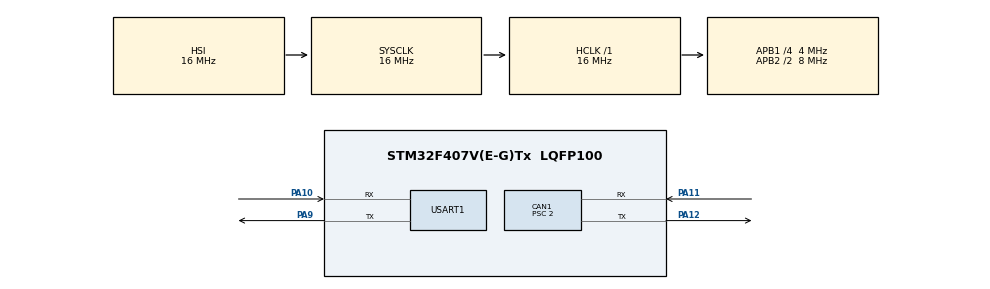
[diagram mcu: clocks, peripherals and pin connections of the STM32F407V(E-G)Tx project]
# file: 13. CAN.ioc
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CAN1.BS1=CAN_BS1_14TQ
CAN1.BS2=CAN_BS2_5TQ
CAN1.CalculateBaudRate=100000
CAN1.CalculateTimeBit=10000
CAN1.CalculateTimeQuantum=500.0
CAN1.Prescaler=2
Mcu.Family=STM32F4
Mcu.Name=STM32F407V(E-G)Tx
Mcu.Package=LQFP100
NVIC.CAN1_RX0_IRQn=true\:0\:0\:false\:false\:true\:true\:true\:true
NVIC.PriorityGroup=NVIC_PRIORITYGROUP_4
NVIC.USART1_IRQn=true\:0\:0\:false\:false\:true\:true\:true\:true
PA10.Mode=Asynchronous
PA10.Signal=USART1_RX
PA11.Mode=CAN_Activate
PA11.Signal=CAN1_RX
PA12.Mode=CAN_Activate
PA12.Signal=CAN1_TX
PA13.Mode=Serial_Wire
PA13.Signal=SYS_JTMS-SWDIO
PA14.Mode=Serial_Wire
PA14.Signal=SYS_JTCK-SWCLK
PA9.Mode=Asynchronous
PA9.Signal=USART1_TX
PH0-OSC_IN.Mode=HSE-External-Oscillator
PH0-OSC_IN.Signal=RCC_OSC_IN
PH1-OSC_OUT.Mode=HSE-External-Oscillator
PH1-OSC_OUT.Signal=RCC_OSC_OUT
ProjectManager.HeapSize=0x200
ProjectManager.StackSize=0x400
ProjectManager.TargetToolchain=STM32CubeIDE
RCC.48MHZClocksFreq_Value=84000000
RCC.AHBFreq_Value=16000000
RCC.APB1CLKDivider=RCC_HCLK_DIV4
RCC.APB1Freq_Value=4000000
RCC.APB1TimFreq_Value=8000000
RCC.APB2CLKDivider=RCC_HCLK_DIV2
RCC.APB2Freq_Value=8000000
RCC.APB2TimFreq_Value=16000000
RCC.CortexFreq_Value=16000000
RCC.HCLKFreq_Value=16000000
RCC.HSE_VALUE=25000000
RCC.HSI_VALUE=16000000
RCC.LSE_VALUE=32768
RCC.PLLM=25
RCC.PLLN=336
RCC.PLLSourceVirtual=RCC_PLLSOURCE_HSE
RCC.SYSCLKFreq_VALUE=16000000
RCC.VCOOutputFreq_Value=336000000
USART1.VirtualMode=VM_ASYNC
board=custom

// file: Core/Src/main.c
/* USER CODE BEGIN Header */
/**
  ******************************************************************************
  * @file           : main.c
  * @brief          : Main program body
  ******************************************************************************
  * @attention
  *
  * Copyright (c) 2022 STMicroelectronics.
  * All rights reserved.
  *
  * This software is licensed under terms that can be found in the LICENSE file
  * in the root directory of this software component.
  * If no LICENSE file comes with this software, it is provided AS-IS.
  *
  ******************************************************************************
  */
/* USER CODE END Header */
#include "main.h"
#include "can.h"
#include "usart.h"
#include "gpio.h"

/* USER CODE BEGIN Includes */
#include <stdio.h>
/* USER CODE END Includes */

/* USER CODE BEGIN PV */
volatile uint8_t uart_rx_data;
volatile uint8_t SW1_flag = 0;
volatile uint8_t SW2_flag = 0;
volatile uint8_t SW3_flag = 0;
volatile uint8_t SW4_flag = 0;
volatile uint8_t can1_rx0_flag = 0;
/* USER CODE END PV */

void SystemClock_Config(void);

int main(void)
{

  /* MCU Configuration--------------------------------------------------------*/

  /* Reset of all peripherals, Initializes the Flash interface and the Systick. */
  HAL_Init();

  /* Configure the system clock */
  SystemClock_Config();

  /* Initialize all configured peripherals */
  MX_GPIO_Init();
  MX_CAN1_Init();
  MX_USART1_UART_Init();

  /* Infinite loop */
  /* USER CODE BEGIN WHILE */
  canFilter1.FilterMaskIdHigh = 0x7F3 << 5;
  canFilter1.FilterIdHigh = 0x106 << 5;
  canFilter1.FilterMaskIdLow = 0x7F3 << 5;
  canFilter1.FilterIdLow = 0x106 << 5;
  canFilter1.FilterMode = CAN_FILTERMODE_IDMASK;
  canFilter1.FilterScale = CAN_FILTERSCALE_16BIT;
  canFilter1.FilterFIFOAssignment = CAN_FILTER_FIFO0;
  canFilter1.FilterBank = 0;
  canFilter1.FilterActivation = ENABLE;

  HAL_CAN_ConfigFilter(&hcan1, &canFilter1);
  HAL_CAN_ActivateNotification(&hcan1, CAN_IT_RX_FIFO0_MSG_PENDING);

  HAL_CAN_Start(&hcan1);

  HAL_UART_Receive_IT(&huart1, &uart_rx_data, sizeof(uart_rx_data));

  char str[20] = {0};

  while (1)
  {
	  if(can1_rx0_flag)
	  {
		  can1_rx0_flag = 0;

		  sprintf(str, "\n\n=============\n");
		  HAL_UART_Transmit(&huart1, str, sizeof(str), 10);
		  sprintf(str, "STM32F407VET6\n");
		  HAL_UART_Transmit(&huart1, str, sizeof(str), 10);
		  sprintf(str, "Rx ID: 0x%X\n", canRxHeader.StdId);
		  HAL_UART_Transmit(&huart1, str, sizeof(str), 10);

		  for(int i = 0; i < 8; i++)
		  {
			  sprintf(str, "Rx Data[%d]: 0x%X\n", i, can1Rx0Data[i]);
			  HAL_UART_Transmit(&huart1, str, sizeof(str), 10);
		  }
		  sprintf(str, "\n=============\n\n");
		  HAL_UART_Transmit(&huart1, str, sizeof(str), 10);
	  }

	  // flag1
	  if(SW1_flag)
	  {
		  SW1_flag = 0;

		  canTxHeader.StdId = 0x102;
		  canTxHeader.RTR = CAN_RTR_DATA;
		  canTxHeader.IDE = CAN_ID_STD;
		  canTxHeader.DLC = 8;

		  for(int i = 0; i < 8; i++) can1Tx0Data[i]++;

		  TxMailBox = HAL_CAN_GetTxMailboxesFreeLevel(&hcan1);
		  HAL_CAN_AddTxMessage(&hcan1, &canTxHeader, &can1Tx0Data[0], &TxMailBox);
	  }

	  // flag2
	  if(SW2_flag)
	  {
		  SW2_flag = 0;

		  canTxHeader.StdId = 0x106;
		  canTxHeader.RTR = CAN_RTR_DATA;
		  canTxHeader.IDE = CAN_ID_STD;
		  canTxHeader.DLC = 8;

		  for(int i = 0; i < 8; i++) can1Tx0Data[i]++;

		  TxMailBox = HAL_CAN_GetTxMailboxesFreeLevel(&hcan1);
		  HAL_CAN_AddTxMessage(&hcan1, &canTxHeader, &can1Tx0Data[0], &TxMailBox);
	  }

	  // flag3
	  if(SW3_flag)
	  {
		  SW3_flag = 0;

		  canTxHeader.StdId = 0x10A;
		  canTxHeader.RTR = CAN_RTR_DATA;
		  canTxHeader.IDE = CAN_ID_STD;
		  canTxHeader.DLC = 8;

		  for(int i = 0; i < 8; i++) can1Tx0Data[i]++;

		  TxMailBox = HAL_CAN_GetTxMailboxesFreeLevel(&hcan1);
		  HAL_CAN_AddTxMessage(&hcan1, &canTxHeader, &can1Tx0Data[0], &TxMailBox);
	  }

	  // flag4
	  if(SW4_flag)
	  {
		  SW4_flag = 0;

		  canTxHeader.StdId = 0x10E;
		  canTxHeader.RTR = CAN_RTR_DATA;
		  canTxHeader.IDE = CAN_ID_STD;
		  canTxHeader.DLC = 8;

		  for(int i = 0; i < 8; i++) can1Tx0Data[i]++;

		  TxMailBox = HAL_CAN_GetTxMailboxesFreeLevel(&hcan1);
		  HAL_CAN_AddTxMessage(&hcan1, &canTxHeader, &can1Tx0Data[0], &TxMailBox);
	  }

    /* USER CODE END WHILE */

  }
}

void SystemClock_Config(void)
{
  RCC_OscInitTypeDef RCC_OscInitStruct = {0};
  RCC_ClkInitTypeDef RCC_ClkInitStruct = {0};

  /** Configure the main internal regulator output voltage
  */
  __HAL_RCC_PWR_CLK_ENABLE();
  __HAL_PWR_VOLTAGESCALING_CONFIG(PWR_REGULATOR_VOLTAGE_SCALE1);

  /** Initializes the RCC Oscillators according to the specified parameters
  * in the RCC_OscInitTypeDef structure.
  */
  RCC_OscInitStruct.OscillatorType = RCC_OSCILLATORTYPE_HSI;
  RCC_OscInitStruct.HSIState = RCC_HSI_ON;
  RCC_OscInitStruct.HSICalibrationValue = RCC_HSICALIBRATION_DEFAULT;
  RCC_OscInitStruct.PLL.PLLState = RCC_PLL_NONE;
  if (HAL_RCC_OscConfig(&RCC_OscInitStruct) != HAL_OK)
  {
    Error_Handler();
  }

  /** Initializes the CPU, AHB and APB buses clocks
  */
  RCC_ClkInitStruct.ClockType = RCC_CLOCKTYPE_HCLK|RCC_CLOCKTYPE_SYSCLK
                              |RCC_CLOCKTYPE_PCLK1|RCC_CLOCKTYPE_PCLK2;
  RCC_ClkInitStruct.SYSCLKSource = RCC_SYSCLKSOURCE_HSI;
  RCC_ClkInitStruct.AHBCLKDivider = RCC_SYSCLK_DIV1;
  RCC_ClkInitStruct.APB1CLKDivider = RCC_HCLK_DIV4;
  RCC_ClkInitStruct.APB2CLKDivider = RCC_HCLK_DIV2;

  if (HAL_RCC_ClockConfig(&RCC_ClkInitStruct, FLASH_LATENCY_0) != HAL_OK)
  {
    Error_Handler();
  }
}

/* USER CODE BEGIN 4 */
void HAL_UART_RxCpltCallback(UART_HandleTypeDef *huart)
{
	if(huart->Instance == USART1)
	{
		HAL_UART_Receive_IT(&huart1, &uart_rx_data, 1);

		if(uart_rx_data == '1')
		{
			SW1_flag = 1;
		}
		else if(uart_rx_data  == '2')
		{
			SW2_flag = 1;
		}
		else if(uart_rx_data == '3')
		{
			SW3_flag = 1;
		}
		else if(uart_rx_data == '4')
		{
			SW4_flag = 1;
		}
	}
}

void HAL_CAN_RxFifo0MsgPendingCallback(CAN_HandleTypeDef *hcan)
{
	if(hcan->Instance == CAN1)
	{
		HAL_CAN_GetRxMessage(&hcan1, CAN_RX_FIFO0, &canRxHeader, &can1Rx0Data[0]);
		can1_rx0_flag = 1;
	}
}
/* USER CODE END 4 */

void Error_Handler(void)
{
  __disable_irq();
  while (1)
  {
  }
}
